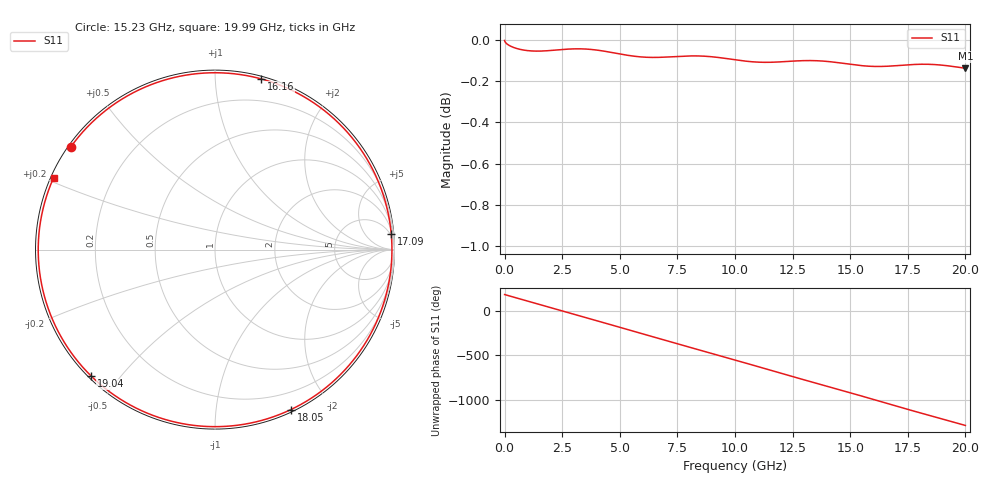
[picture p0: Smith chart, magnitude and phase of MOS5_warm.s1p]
# GHz S RI R 50
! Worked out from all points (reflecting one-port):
!   10001 points, 1 MHz to 20 GHz, reference 50 ohm
!   lowest |S11| = -0.1 dB at 20 GHz (marker M1), VSWR 126.88, Z = 0.413 + j10.9 ohm
!   phase of S11 starts at 180 deg and turns -1465 deg over the sweep
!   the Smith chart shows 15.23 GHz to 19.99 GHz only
!   S11 on the Smith chart (normalised r, x): 15.23 GHz: 0.01, +0.32; 16.16 GHz: 0.02, +1.31; 17.09 GHz: 4, +22; 18.05 GHz: 0.02, -1.58; 19.04 GHz: 0.01, -0.42; 19.99 GHz: 0.01, +0.21
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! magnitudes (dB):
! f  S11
! 1 MHz  0.0
! 157 MHz  0.0
! 339 MHz  0.0
! 605 MHz  0.0
! 913 MHz  -0.1
! 1.541 GHz  -0.1
! 2.501 GHz  0.0
! 3.109 GHz  0.0
! 3.651 GHz  0.0
! 4.197 GHz  -0.1
! 5.001 GHz  -0.1
! 5.633 GHz  -0.1
! 6.175 GHz  -0.1
! 7.501 GHz  -0.1
! 8.681 GHz  -0.1
! 10 GHz  -0.1
! 11.17 GHz  -0.1
! 12.5 GHz  -0.1
! 13.67 GHz  -0.1
! 15 GHz  -0.1
! 15.23 GHz  -0.1
! 16.16 GHz  -0.1
! 17.09 GHz  -0.1
! 17.5 GHz  -0.1
! 18.05 GHz  -0.1
! 19.04 GHz  -0.1
! 19.99 GHz  -0.1
! 20 GHz  -0.1
